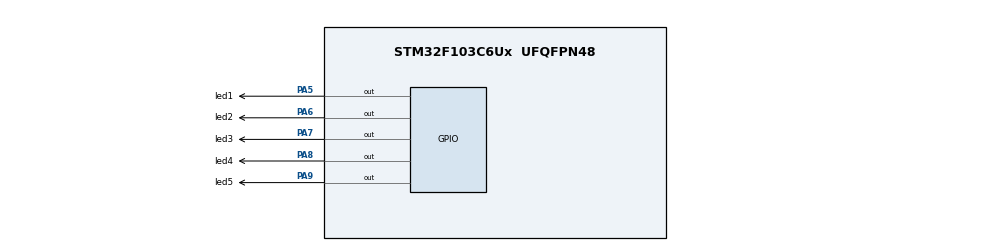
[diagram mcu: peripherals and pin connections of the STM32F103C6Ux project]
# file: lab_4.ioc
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Mcu.Family=STM32F1
Mcu.Name=STM32F103C6Ux
Mcu.Package=UFQFPN48
NVIC.PriorityGroup=NVIC_PRIORITYGROUP_4
NVIC.TIM2_IRQn=true\:0\:0\:false\:false\:true\:true\:true
PA5.GPIO_Label=led1
PA5.Signal=GPIO_Output
PA6.GPIO_Label=led2
PA6.Signal=GPIO_Output
PA7.GPIO_Label=led3
PA7.Signal=GPIO_Output
PA8.GPIO_Label=led4
PA8.Signal=GPIO_Output
PA9.GPIO_Label=led5
PA9.Signal=GPIO_Output
ProjectManager.HeapSize=0x200
ProjectManager.StackSize=0x400
ProjectManager.TargetToolchain=STM32CubeIDE
RCC.APB1Freq_Value=8000000
RCC.APB2Freq_Value=8000000
TIM2.Period=7999
TIM2.Prescaler=9
VP_SYS_VS_ND.Mode=No_Debug
VP_TIM2_VS_ClockSourceINT.Mode=Internal
board=custom

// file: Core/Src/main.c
/* USER CODE BEGIN Header */
/**
  ******************************************************************************
  * @file           : main.c
  * @brief          : Main program body
  ******************************************************************************
  * @attention
  *
  * <h2><center>&copy; Copyright (c) 2022 STMicroelectronics.
  * All rights reserved.</center></h2>
  *
  * This software component is licensed by ST under BSD 3-Clause license,
  * the "License"; You may not use this file except in compliance with the
  * License. You may obtain a copy of the License at:
  *                        opensource.org/licenses/BSD-3-Clause
  *
  ******************************************************************************
  */
/* USER CODE END Header */
#include "main.h"

/* USER CODE BEGIN Includes */
#include "scheduler.h"
#include "display_led.h"
/* USER CODE END Includes */

TIM_HandleTypeDef htim2;

void SystemClock_Config(void);
static void MX_GPIO_Init(void);
static void MX_TIM2_Init(void);

/* USER CODE BEGIN 0 */
void Display_Led1();
void Display_Led2();
void Display_Led3();
void Display_Led4();
void Display_Led5();
/* USER CODE END 0 */

int main(void)
{

  /* MCU Configuration--------------------------------------------------------*/

  /* Reset of all peripherals, Initializes the Flash interface and the Systick. */
  HAL_Init();

  /* Configure the system clock */
  SystemClock_Config();

  /* Initialize all configured peripherals */
  MX_GPIO_Init();
  MX_TIM2_Init();
  /* USER CODE BEGIN 2 */
  HAL_TIM_Base_Start_IT(&htim2);
  SCH_Init();
  SCH_Add_Task(display_led1, 500, 500);
  SCH_Add_Task(display_led2, 1000, 1000);
  SCH_Add_Task(display_led3, 1500, 1500);
  SCH_Add_Task(display_led4, 2000, 2000);
  SCH_Add_Task(display_led5, 2500, 0);
  /* USER CODE END 2 */

  /* Infinite loop */
  while (1)
  {

    /* USER CODE BEGIN 3 */
	  SCH_Dispatch_Task();
  }
  /* USER CODE END 3 */
}

void SystemClock_Config(void)
{
  RCC_OscInitTypeDef RCC_OscInitStruct = {0};
  RCC_ClkInitTypeDef RCC_ClkInitStruct = {0};

  /** Initializes the RCC Oscillators according to the specified parameters
  * in the RCC_OscInitTypeDef structure.
  */
  RCC_OscInitStruct.OscillatorType = RCC_OSCILLATORTYPE_HSI;
  RCC_OscInitStruct.HSIState = RCC_HSI_ON;
  RCC_OscInitStruct.HSICalibrationValue = RCC_HSICALIBRATION_DEFAULT;
  RCC_OscInitStruct.PLL.PLLState = RCC_PLL_NONE;
  if (HAL_RCC_OscConfig(&RCC_OscInitStruct) != HAL_OK)
  {
    Error_Handler();
  }
  /** Initializes the CPU, AHB and APB buses clocks
  */
  RCC_ClkInitStruct.ClockType = RCC_CLOCKTYPE_HCLK|RCC_CLOCKTYPE_SYSCLK
                              |RCC_CLOCKTYPE_PCLK1|RCC_CLOCKTYPE_PCLK2;
  RCC_ClkInitStruct.SYSCLKSource = RCC_SYSCLKSOURCE_HSI;
  RCC_ClkInitStruct.AHBCLKDivider = RCC_SYSCLK_DIV1;
  RCC_ClkInitStruct.APB1CLKDivider = RCC_HCLK_DIV1;
  RCC_ClkInitStruct.APB2CLKDivider = RCC_HCLK_DIV1;

  if (HAL_RCC_ClockConfig(&RCC_ClkInitStruct, FLASH_LATENCY_0) != HAL_OK)
  {
    Error_Handler();
  }
}

static void MX_TIM2_Init(void)
{

  TIM_ClockConfigTypeDef sClockSourceConfig = {0};
  TIM_MasterConfigTypeDef sMasterConfig = {0};

  htim2.Instance = TIM2;
  htim2.Init.Prescaler = 10;
  htim2.Init.CounterMode = TIM_COUNTERMODE_UP;
  htim2.Init.Period = 7999;
  htim2.Init.ClockDivision = TIM_CLOCKDIVISION_DIV1;
  htim2.Init.AutoReloadPreload = TIM_AUTORELOAD_PRELOAD_DISABLE;
  if (HAL_TIM_Base_Init(&htim2) != HAL_OK)
  {
    Error_Handler();
  }
  sClockSourceConfig.ClockSource = TIM_CLOCKSOURCE_INTERNAL;
  if (HAL_TIM_ConfigClockSource(&htim2, &sClockSourceConfig) != HAL_OK)
  {
    Error_Handler();
  }
  sMasterConfig.MasterOutputTrigger = TIM_TRGO_RESET;
  sMasterConfig.MasterSlaveMode = TIM_MASTERSLAVEMODE_DISABLE;
  if (HAL_TIMEx_MasterConfigSynchronization(&htim2, &sMasterConfig) != HAL_OK)
  {
    Error_Handler();
  }

}

static void MX_GPIO_Init(void)
{
  GPIO_InitTypeDef GPIO_InitStruct = {0};

  /* GPIO Ports Clock Enable */
  __HAL_RCC_GPIOA_CLK_ENABLE();

  /*Configure GPIO pin Output Level */
  HAL_GPIO_WritePin(GPIOA, led1_Pin|led2_Pin|led3_Pin|led4_Pin
                          |led5_Pin, GPIO_PIN_RESET);

  /*Configure GPIO pins : LED1_Pin LED2_Pin LED3_Pin LED4_Pin
                           LED5_Pin */
  GPIO_InitStruct.Pin = led1_Pin|led2_Pin|led3_Pin|led4_Pin
                          |led5_Pin;
  GPIO_InitStruct.Mode = GPIO_MODE_OUTPUT_PP;
  GPIO_InitStruct.Pull = GPIO_NOPULL;
  GPIO_InitStruct.Speed = GPIO_SPEED_FREQ_LOW;
  HAL_GPIO_Init(GPIOA, &GPIO_InitStruct);

}

/* USER CODE BEGIN 4 */
void HAL_TIM_PeriodElapsedCallback(TIM_HandleTypeDef * htim){
	SCH_Update();
}

/* USER CODE END 4 */

void Error_Handler(void)
{
  __disable_irq();
  while (1)
  {
  }
}

/************************ (C) COPYRIGHT STMicroelectronics *****END OF FILE****/
